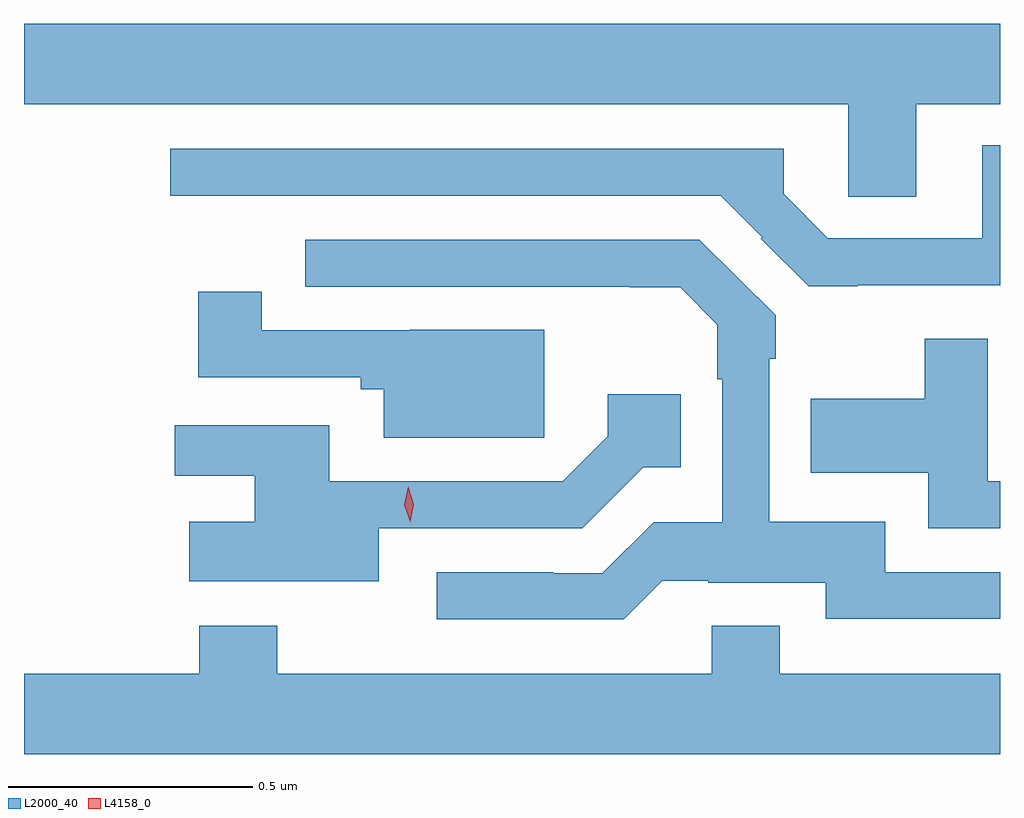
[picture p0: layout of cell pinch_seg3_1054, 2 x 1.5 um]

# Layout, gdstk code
import gdstk
lib = gdstk.Library(unit=1e-6, precision=1e-09)
def P(c, l, *ps):  # polygons
    for p in ps: c.add(gdstk.Polygon(p, *l))
L2000_40 = (2000, 40)
L4158_0 = (4158, 0)

pinch_seg3_1054 = lib.new_cell('pinch_seg3_1054')
P(pinch_seg3_1054, L2000_40, [(591.955,684.932),(592.127,684.932),(592.127,685.096),(590.127,685.096),(590.127,684.932),(591.816,684.932),(591.816,684.742),(591.955,684.742)],
  [(591.835,684.561),(592.127,684.561),(592.127,684.847),(592.091,684.847),(592.091,684.657),(591.774,684.657),(591.684,684.748),(591.684,684.84),(590.427,684.84),(590.427,684.744),(591.555,684.744),(591.64,684.659),(591.637,684.656),(591.735,684.559),(591.835,684.559)],
  [(591.435,683.955),(591.529,683.955),(591.529,683.951),(591.77,683.951),(591.77,683.877),(592.127,683.877),(592.127,683.973),(591.892,683.973),(591.892,684.076),(591.654,684.076),(591.654,684.41),(591.667,684.41),(591.667,684.499),(591.511,684.654),(590.703,684.654),(590.703,684.558),(591.368,684.558),(591.368,684.556),(591.472,684.556),(591.548,684.48),(591.548,684.368),(591.558,684.368),(591.558,684.075),(591.417,684.075),(591.312,683.97),(591.212,683.97),(591.212,683.973),(590.973,683.973),(590.973,683.876),(591.356,683.876)],
  [(591.193,684.469),(590.917,684.469),(590.917,684.468),(590.614,684.468),(590.614,684.547),(590.484,684.547),(590.484,684.372),(590.817,684.372),(590.817,684.347),(590.864,684.347),(590.864,684.248),(591.193,684.248)],
  [(592.127,684.159),(592.102,684.159),(592.102,684.451),(591.973,684.451),(591.973,684.328),(591.739,684.328),(591.739,684.176),(591.98,684.176),(591.98,684.063),(592.127,684.063)],
  [(590.854,684.063),(591.271,684.063),(591.396,684.188),(591.473,684.188),(591.473,684.337),(591.323,684.337),(591.323,684.251),(591.231,684.159),(590.752,684.159),(590.752,684.274),(590.436,684.274),(590.436,684.17),(590.6,684.17),(590.6,684.076),(590.466,684.076),(590.466,683.954),(590.854,683.954)],
  [(592.127,683.764),(591.676,683.764),(591.676,683.863),(591.536,683.863),(591.536,683.764),(590.646,683.764),(590.646,683.863),(590.486,683.863),(590.486,683.764),(590.127,683.764),(590.127,683.6),(592.127,683.6)])
P(pinch_seg3_1054, L4158_0, [(590.919,684.075),(590.919,684.076),(590.906,684.111),(590.914,684.148),(590.914,684.148),(590.914,684.148),(590.926,684.112),(590.919,684.076)])

lib.write_gds('pinch_seg3_1054.gds')
